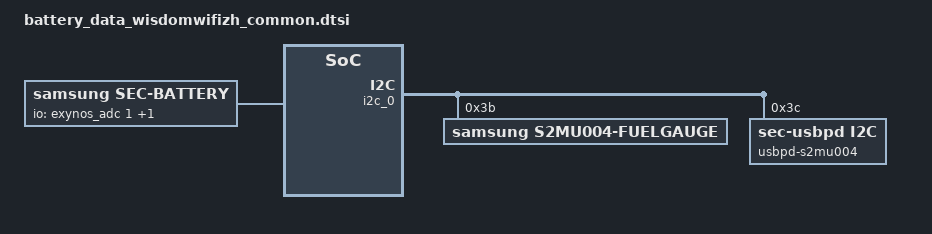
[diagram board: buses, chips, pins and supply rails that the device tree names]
/*
 * Tab WISDOM Battery parameters device tree file
 *
 * Copyright (C) 2018 Samsung Electronics, Inc.
 *
 * This program is free software; you can redistribute it and/or
 * modify it under the terms of the GNU General Public License
 * as published by the Free Software Foundation; either version 2
 * of the License, or (at your option) any later version.
 *
 * This program is distributed in the hope that it will be useful,
 * but WITHOUT ANY WARRANTY; without even the implied warranty of
 * MERCHANTABILITY or FITNESS FOR A PARTICULAR PURPOSE. See the
 * GNU General Public License for more details.
 *
 * You should have received a copy of the GNU General Public License
 * along with this program. If not, see <http://www.gnu.org/licenses/>.
 *
 */

/ {
	fragment@battery {
		target-path = "/";
		__overlay__ {
			battery_params {
					battery,battery_data =
						<
						/***** battery data for 4.22 *****/
						/* battery,battery_table3 */
						129 11 251 10 117 10 248 9 126 9
						16 9 172 8 69 8 213 7 142 7
						43 7 213 6 161 6 120 6 87 6
						60 6 34 6 254 5 194 5 141 5
						114 5 176 2 160 10 28 10 153 9
						22 9 146 8 15 8 140 7 8 7
						133 6 2 6 126 5 251 4 120 4
						244 3 113 3 238 2 106 2 231 1
						100 1 224 0 93 0 218 15

						/* battery,battery_table4 */
						10 10 10 10 36 36 35 34 35 35
						36 36 36 36 36 37 39 40 43 51
						75 96

						/* battery,batcap */
						0xA4 0x38 0x29 0x0E /* [0x0E] [0x0F] [0x10] [0x11] */
						/* battery,accum */
						0x8 0x00 /* [0x45] [0x44] */

						/* battery,soc_arr_val */
						13279 12638 11997 11356 10713 10073 9432 8790 8149 7508
						6867 6226 5584 4943 4302 3660 3019 2378 1737 1096
						454 (-187)

						/* battery,ocv_arr_val */
						44382 43727 43072 42463 41867 41326 40839 40338 39789 39443
						38958 38541 38285 38085 37924 37794 37667 37492 37196 36938
						36805 33361

						/* battery,tunning */
						0x00

						/***** battery data for 4.19 *****/
						/* battery,battery_table3 */
                                           	69 11 251 10 177 10 81 10 207 9
                                           	85 9 228 8 136 8 254 7 182 7
	                                        91 7 237 6 177 6 132 6 95 6
                                           	66 6 39 6 4 6 201 5 145 5
                                           	115 5 176 2 255 10 119 10 239 9
                                           	102 9 222 8 86 8 206 7 69 7
                                           	189 6 53 6 173 5 36 5 156 4
                                           	20 4 140 3 3 3 123 2 243 1
                                           	107 1 226 0 90 0 210 15

						/* battery,battery_table4 */
                                           	40 35 36 36 36 36 35 34 35 35
                                           	36 36 36 36 36 37 39 40 43 51
                                           	75 66

						/* battery,batcap */
						0x40 0x38 0x10 0x0E/* [0x0E] [0x0F] [0x10] [0x11] */
						/* batteryaccum */
						0x8 0x00 /* [0x45] [0x44] */

						/* batterysoc_arr_val */
                                           	13745 13080 12415 11750 11084 10419 9754 9089 8424 7758
                                           	7093 6428 5763 5098 4432 3767 3101 2437 1772 1106
                                           	441 (-224)

						/* batteryocv_arr_val */
                                           	44089 43727 43365 42896 42263 41666 41112 40664 39991 39641
                                           	39194 38659 38364 38143 37965 37823 37692 37522 37234 36958
                                           	36810 33361

						/* battery,tunning */
						0x00

						/***** battery data for 4.16 *****/
						/* battery,battery_table3 */
                                           	120 11 251 10 126 10 1 10 134 9
                                           	22 9 176 8 77 8 216 7 146 7
                                           	47 7 215 6 162 6 121 6 88 6
                                           	61 6 35 6 255 5 195 5 141 5
                                           	114 5 176 2 255 10 119 10 238 9
                                           	102 9 222 8 86 8 205 7 69 7
                                           	189 6 52 6 172 5 36 5 155 4
                                           	19 4 139 3 2 3 122 2 242 1
                                           	105 1 225 0 89 0 209 15

						/* battery,battery_table4 */
                                           	40 35 36 36 36 36 35 34 35 35
                                           	36 36 36 36 36 37 39 40 43 51
                                           	75 66

						/* battery,batcap */
						0xB0 0x36 0xAC 0x0D/* [0x0E] [0x0F] [0x10] [0x11] */
						/* batteryaccum */
						0x8 0x00 /* [0x45] [0x44] */

						/* batterysoc_arr_val */
                                           	13746 13080 12414 11749 11083 10418 9752 9086 8421 7755
                                           	7090 6424 5758 5093 4427 3762 3096 2430 1765 1099
                                           	434 (-231)

						/* batteryocv_arr_val */
                                           	44337 43727 43117 42505 41903 41358 40861 40377 39803 39463
                                           	38981 38552 38292 38091 37928 37796 37670 37495 37200 36940
                                           	36806 33361

						/* battery,tunning */
						0x00
						>;

					battery,battery_table3 = <
				                           	129 11 251 10 117 10 248 9 126 9
								16 9 172 8 69 8 213 7 142 7
								43 7 213 6 161 6 120 6 87 6
								60 6 34 6 254 5 194 5 141 5
								114 5 176 2 160 10 28 10 153 9
								22 9 146 8 15 8 140 7 8 7
								133 6 2 6 126 5 251 4 120 4
								244 3 113 3 238 2 106 2 231 1
								100 1 224 0 93 0 218 15
								>;

					battery,battery_table4 = <
								10 10 10 10 36 36 35 34 35 35
								36 36 36 36 36 37 39 40 43 51
								75 96
								>;

					battery,batcap = <0xA4 0x38 0x29 0x0E>; /* [0x0E] [0x0F] [0x10] [0x11] */
					battery,accum = <0x8 0x00>; /* [0x45] [0x44] */

					battery,soc_arr_val = <
								13279 12638 11997 11356 10713 10073 9432 8790 8149 7508
								6867 6226 5584 4943 4302 3660 3019 2378 1737 1096
								454 (-187)
								>;
					battery,ocv_arr_val = <
								44382 43727 43072 42463 41867 41326 40839 40338 39789 39443
								38958 38541 38285 38085 37924 37794 37667 37492 37196 36938
								36805 33361
								>;
					battery,data_ver = <0x03>;
			};

			pdic-manager {
				/* sink */
				pdic,max_power = <5000>;
				pdic,op_power = <2500>;
				pdic,max_voltage = <6000>;
				pdic,max_current = <2000>;
				pdic,min_current = <500>;

				pdic,giveback = <0>;
				pdic,usb_com_capable = <1>;
				pdic,no_usb_suspend = <1>;

				/* source */
				source,max_voltage = <5000>;
				source,min_voltage = <4000>;
				source,max_power = <2500>;

				/* sink cap */
				sink,capable_max_voltage = <9000>;
			};

			battery {
				status = "okay";
				compatible = "samsung,sec-battery";

				pinctrl-names = "default";

				battery,vendor = "Battery";
				battery,charger_name = "s2mu004-charger";
				battery,fuelgauge_name = "s2mu004-fuelgauge";
				battery,technology = <2>; /* POWER_SUPPLY_TECHNOLOGY_LION */
				battery,fgsrc_switch_name = "s2mu004-fuelgauge"; /* Fuelgauge voltage source */

				battery,batt_data_version = <2>;

				battery,chip_vendor = "LSI";
				battery,temp_adc_type = <1>; /* SEC_BATTERY_ADC_TYPE_AP */

				battery,temp_check_type = <2>; /* SEC_BATTERY_TEMP_CHECK_TEMP */

				battery,thermal_source = <2>; /* SEC_BATTERY_THERMAL_SOURCE_ADC */

				battery,polling_time = <10 30 30 30 3600>;

				battery,temp_table_adc = <
							467 525 590 665 750 846 952 1017 1200 1345
							1470 1615 1715 1990 2250 2405 2596 2782 2953 3127
							3270 3412 3543
							>;
				battery,temp_table_data = <
							900 850 800 750 700 650 600 550 500 450 
							400 350 300 250 200 150 100 50 0 (-50)
							(-100) (-150) (-200)
							>;

				battery,inbat_voltage = <1>;

				battery,inbat_voltage_table_adc = <2823 2803 2775 2748 2719 2695 2668 2638 2609 2582
								2551 2524 2496 2469 2442 2416 2390 2362 2333 2303 2275>;
				battery,inbat_voltage_table_data = <4385 4355 4305 4255 4205 4155 4105 4055 4005 3955
								3905 3855 3805 3755 3705 3655 3605 3555 3505 3455 3405>;

				battery,adc_check_count = <5>;

				battery,cable_check_type = <4>; /* SEC_BATTERY_CABLE_CHECK_PSY */
				battery,cable_source_type = <1>; /* SEC_BATTERY_CABLE_SOURCE_EXTERNAL */
				battery,polling_type = <1>; /* SEC_BATTERY_MONITOR_ALARM */
				battery,monitor_initial_count = <0>;

				battery,pre_afc_input_current = <500>;

				battery,battery_check_type = <0>; /* SEC_BATTERY_CHECK_NONE */
				battery,check_count = <0>;

				battery,ovp_uvlo_check_type = <3>; /* SEC_BATTERY_OVP_UVLO_CHGPOLLING */

				battery,temp_check_count = <1>;
				battery,temp_highlimit_threshold_event = <800>;
				battery,temp_highlimit_recovery_event = <750>;
				battery,temp_high_threshold_event = <500>;
				battery,temp_high_recovery_event = <450>;
				battery,temp_low_threshold_event = <0>;
				battery,temp_low_recovery_event = <50>;
				battery,temp_highlimit_threshold_normal = <800>;
				battery,temp_highlimit_recovery_normal = <750>;
				battery,temp_high_threshold_normal = <500>;
				battery,temp_high_recovery_normal = <480>;
				battery,temp_low_threshold_normal = <0>;
				battery,temp_low_recovery_normal = <20>;
				battery,temp_highlimit_threshold_lpm = <800>;
				battery,temp_highlimit_recovery_lpm = <750>;
				battery,temp_high_threshold_lpm = <500>;
				battery,temp_high_recovery_lpm = <480>;
				battery,temp_low_threshold_lpm = <0>;
				battery,temp_low_recovery_lpm = <20>;
				battery,wpc_high_threshold_normal = <480>;
				battery,wpc_high_recovery_normal = <400>;
				battery,wpc_low_threshold_normal = <0>;
				battery,wpc_low_recovery_normal = <20>;

				battery,full_check_type = <2>; /* SEC_BATTERY_FULLCHARGED_FG_CURRENT */
				battery,full_check_type_2nd = <2>; /* SEC_BATTERY_FULLCHARGED_FG_CURRENT */
				battery,full_check_count = <1>;
				battery,chg_gpio_full_check = <0>;
				battery,chg_polarity_full_check = <1>;

				/* SEC_BATTERY_FULL_CONDITION_SOC |
				 * SEC_BATTERY_FULL_CONDITION_NOTIMEFULL |
				 * SEC_BATTERY_FULL_CONDITION_VCELL
				 */
				battery,full_condition_type = <13>;
				battery,full_condition_soc = <93>;
				battery,full_condition_vcell = <4090>;

				battery,recharge_check_count = <1>;
				battery,recharge_condition_type = <4>; /* SEC_BATTERY_RECHARGE_CONDITION_VCELL */
				battery,recharge_condition_soc = <98>;
				battery,recharge_condition_vcell = <4120>;

				battery,charging_total_time = <14400>;
				battery,hv_charging_total_time = <10800>;
				battery,normal_charging_total_time = <18000>;
				battery,usb_charging_total_time = <36000>;
				battery,recharging_total_time = <5400>;
				battery,charging_reset_time = <0>;

				battery,chg_float_voltage = <4220>;
                		battery,swelling_low_rechg_thr = <200>;

				battery,swelling_high_temp_block = <410>;
				battery,swelling_high_temp_recov = <390>;
				battery,swelling_wc_high_temp_recov = <390>;
				battery,swelling_low_temp_block_1st = <150>;
				battery,swelling_low_temp_recov_1st = <200>;
				battery,swelling_low_temp_block_2nd = <50>;
				battery,swelling_low_temp_recov_2nd = <100>;

				battery,swelling_low_temp_current = <750>;	/* 0.3C */
				battery,swelling_low_temp_topoff = <210>;	/* 0.05C */
				battery,swelling_high_temp_current = <1125>;	/* 0.45C */
				battery,swelling_high_temp_topoff = <210>;	/* 0.05C */
				battery,swelling_wc_high_temp_current = <750>;	/* 0.3C */
				battery,swelling_wc_low_temp_current = <750>;	/* 0.3C */

				battery,swelling_drop_float_voltage = <4050>;
				battery,swelling_high_rechg_voltage = <3850>;
				battery,swelling_low_rechg_voltage = <3850>;

				battery,siop_event_check_type = <1>;
				battery,siop_call_cv_current = <330>;
				battery,siop_call_cc_current = <330>;

				battery,siop_input_limit_current = <1200>;
				battery,siop_charging_limit_current = <1000>;

				battery,pd_charging_charge_power = <7750>;
				battery,max_charging_current = <1800>;
				battery,slow_charging_current = <500>;
				battery,battery_full_capacity = <4200>;

				/* cycle, chg_float_voltage, recharge_condition_vcell, full_condition_vcell, full_condition_soc */
				battery,age_data = <0 4220 4120 4090 93	/*4.22*/
						500 4190 4090 4060 92	/*4.19*/
						1000 4160 4060 4030 91	/*4.16*/
						>;
				battery,max_input_voltage = <5000>; /* mV */
				battery,max_input_current = <1500>;  /* mA */

				battery,standard_curr = <1800>;
				battery,expired_time = <16200>; /* 190 + 80 minutes */
				battery,recharging_expired_time = <5400>;

				battery,cisd_max_voltage_thr = <5000>; /* battery ovp detection voltage */

				battery,cisd_alg_index = <7>;

				battery,enable_water_resistance;

				battery,recovery_cable;

				io-channels = <&exynos_adc 1>, <&exynos_adc 2>;
				io-channel-names = "adc-temp", "adc-in-bat";
				#io-channel-cells = <5>;
				io-channel-ranges;
			};

/* sec_battery_cable
 *   0	UNKNOWN,
 *   1	NONE,
 *   2	PREPARE_TA,
 *   3	TA,
 *   4	USB,
 *   5	USB_CDP,
 *   6	9V_TA,
 *   7	9V_ERR,
 *   8	9V_UNKNOWN,
 *   9	12V_TA,
 *  10	WIRELESS,
 *  11	HV_WIRELESS,
 *  12	PMA_WIRELESS,
 *  13	WIRELESS_PACK,
 *  14	WIRELESS_PACK_TA,
 *  15	WIRELESS_STAND,
 *  16	WIRELESS_HV_STAND,
 *  17	QC20,
 *  18	QC30,
 *  19	PDIC,
 *  20	UARTOFF,
 *  21	OTG,
 *  22	LAN_HUB,
 *  23	POWER_SHARING,
 *  24	HMT_CONNECTED,
 *  25	HMT_CHARGE,
 *  26	HV_TA_CHG_LIMIT,
 *  27	WIRELESS_VEHICLE,
 *  28	WIRELESS_HV_VEHICLE,
 *  29	PREPARE_WIRELESS_HV,
 *  30	TIMEOUT,
 *  31	SMART_OTG,
 *  32	SMART_NOTG,
 *  33	FACTORY_UART,
 *  34	CABLE_MAX,
 */
			cable-info {
				default_input_current = <1500>;
				default_charging_current = <1800>;
				full_check_current_1st = <420>;
				full_check_current_2nd = <210>;

				current_group_1 {
					cable_number = <1 4 19 21 22 23 30>;
					input_current = <500>;
					charging_current = <500>;
				};

				current_group_2 {
					cable_number = <2 25 31>;
					input_current = <1000>;
					charging_current = <1000>;
				};

				current_group_3 {
					cable_number = <5 32>;
					input_current = <1500>;
					charging_current = <1500>;
				};

				current_group_4 {
					cable_number = <6 7 8>;
					input_current = <1650>;
					charging_current = <2150>;
				};

				current_group_5 {
					cable_number = <9>;
					input_current = <1650>;
					charging_current = <2150>;
				};

				current_group_6 {
					cable_number = <10 12 14 15 27>;
					input_current = <900>;
					charging_current = <1200>;
				};

				current_group_7 {
					cable_number = <13>;
					input_current = <700>;
					charging_current = <1200>;
				};

				current_group_8 {
					cable_number = <24>;
					input_current = <1000>;
					charging_current = <450>;
				};

				current_group_9 {
					cable_number = <26>;
					input_current = <2000>;
					charging_current = <1800>;
				};

				current_group_10 {
					cable_number = <11 16 28>;
					input_current = <650>;
					charging_current = <1200>;
				};

				current_group_11 {
					cable_number = <29>;
					input_current = <500>;
					charging_current = <1200>;
				};
			};

			s2mu004-charger {
				status = "disable";
				compatible = "samsung,s2mu004-charger";
			};
		};
	};
};

&pinctrl_0 {
	fuel_irq: fuel-irq {
		samsung,pins = "gpa2-4";
		samsung,pin-function = <0>;
		samsung,pin-pud = <2>;
		samsung,pin-drv = <0>;
	};

	if_pmic_irq: if-pmic-irq {
		samsung,pins = "gpa2-2";
		samsung,pin-function = <0>;
		samsung,pin-pud = <0>;
		samsung,pin-drv = <0>;
	};

	usbpd_irq: usbpd-irq {
		samsung,pins = "gpa2-3";
		samsung,pin-function = <0x0f>;
		samsung,pin-pud = <0>;
		samsung,pin-drv = <0>;
	};
};

&i2c_0 {
	i2c-gpio,delay-us = <5>;
	status = "okay";
	s2mu004-fuelgauge@3B {
		compatible = "samsung,s2mu004-fuelgauge";
		reg = <0x3B>;
		pinctrl-names = "default";
		pinctrl-0 = <&fuel_irq>;
		fuelgauge,fuel_int = <&gpa2 4 0>;
		fuelgauge,fuel_alert_soc = <1>;
		fuelgauge,fuel_alert_vol = <3300>;
		fuelgauge,low_temp_limit = <100>;
		fuelgauge,sw_vbat_l_recovery_vol = <3465>;
		fuelgauge,capacity_max = <970>;
		fuelgauge,capacity_max_margin = <200>;
		fuelgauge,capacity_min = <0>;
		fuelgauge,capacity_calculation_type = <28>;
		fuelgauge,capacity_full = <4200>;
		fuelgauge,type_str = "SDI";
		fuelgauge,model_type = <1>;
		fuelgauge,fg_log_enable = <1>;
	};

	usbpd-s2mu004@3C {
		compatible = "sec-usbpd,i2c";
		reg = <0x3C>;
		pinctrl-names = "default";
		pinctrl-0     = <&usbpd_irq>;
		usbpd,usbpd_int = <&gpa2 3 0>;
	};
};
